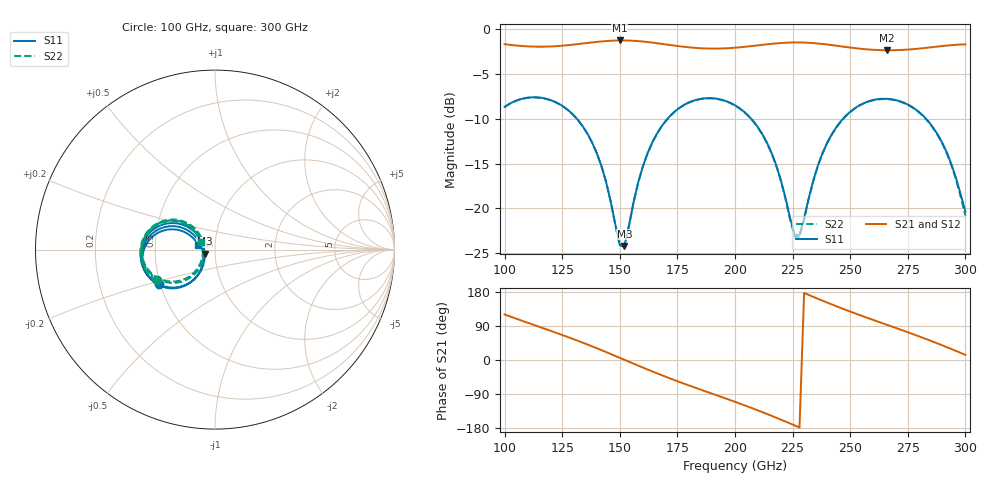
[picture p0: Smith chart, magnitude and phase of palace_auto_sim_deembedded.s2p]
! Created with skrf 1.11.0 (http://scikit-rf.org).
# GHz S DB R 50.0
!freq dBS11 angS11 dBS21 angS21 dBS12 angS12 dBS22 angS22
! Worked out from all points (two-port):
!   101 points, 100 GHz to 300 GHz, reference 50 ohm
!   highest |S21| = -1.26 dB at 150 GHz (marker M1); lowest = -2.4 dB at 266 GHz (marker M2)
!   |S21| within 3 dB of the highest: start of sweep to end of sweep
!   lowest |S11| = -24.2 dB at 152 GHz (marker M3), VSWR 1.13, Z = 44.5 - j2.08 ohm
!   |S11| at or under -10 dB: 131.4 GHz to 170.7 GHz (39.34 GHz wide, 26 % of centre); 207 GHz to 246.9 GHz (39.86 GHz wide, 17.6 % of centre); 282.9 GHz to end of sweep
!   |S22| runs from -24.2 to -7.6 dB; largest |S21 - S12| = 1.5e-15
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100  -8.67 -148.6  -1.67 120.3  -1.67 120.3  -8.68 -152.3
118  -7.76 177.7  -1.95 81.2  -1.95 81.2  -7.78 173.4
134  -10.86 148.9  -1.59 45.5  -1.59 45.5  -10.88 144.0
142  -15.25 139.1  -1.37 26.1  -1.37 26.1  -15.27 133.9
150  -24.11 171.9  -1.26 5.7  -1.26 5.7  -24.13 166.5
152  -24.19 -157.9  -1.26 0.5  -1.26 0.5  -24.21 -163.4
160  -15.31 -123.6  -1.38 -19.9  -1.38 -19.9  -15.33 -129.5
168  -10.89 -133.4  -1.63 -39.6  -1.63 -39.6  -10.91 -139.6
184  -7.83 -162.0  -2.11 -75.8  -2.11 -75.8  -7.85 -168.8
200  -8.49 169.4  -2.07 -110.3  -2.07 -110.3  -8.52 161.9
214  -12.73 147.2  -1.69 -142.7  -1.69 -142.7  -12.77 139.0
226  -22.98 178.0  -1.48 -172.9  -1.48 -172.9  -23.20 169.4
228  -22.94 -156.8  -1.48 -178.1  -1.48 -178.1  -23.16 -164.8
234  -16.86 -124.7  -1.55 166.6  -1.55 166.6  -16.93 -132.8
246  -10.25 -135.5  -1.91 137.1  -1.91 137.1  -10.29 -144.4
256  -8.24 -152.7  -2.22 114.4  -2.22 114.4  -8.27 -162.1
266  -7.77 -170.2  -2.35 92.8  -2.35 92.8  -7.80 179.9
268  -7.82 -173.6  -2.35 88.5  -2.35 88.5  -7.85 176.3
278  -8.87 169.2  -2.21 66.6  -2.21 66.6  -8.91 158.6
288  -11.76 154.0  -1.94 43.4  -1.94 43.4  -11.83 142.5
294  -15.11 149.8  -1.78 28.7  -1.78 28.7  -15.24 137.6
300  -20.36 164.9  -1.69 13.6  -1.69 13.6  -20.80 152.0
